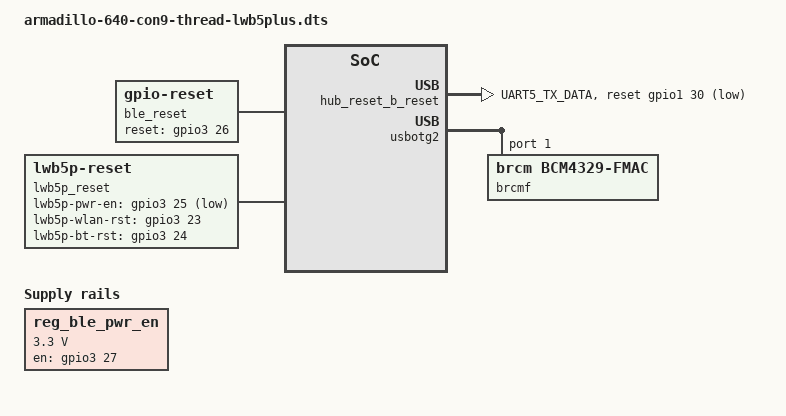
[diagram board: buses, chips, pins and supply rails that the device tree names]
// SPDX-License-Identifier: (GPL-2.0 OR MIT)
/*
 * Copyright (C) 2022 Atmark Techno, Inc. All Rights Reserved.
 */

/dts-v1/;
/plugin/;

#include <dt-bindings/gpio/gpio.h>
#include "imx6ull-pinfunc.h"
#include "imx6ull-pinfunc-snvs.h"
#include <dt-bindings/interrupt-controller/irq.h>

&uart5 {
	status = "disabled";
};

&{/} {
	// chosen {
	//	stdout-path = &uart3;
	// };

	hub_reset_b_reset: usb2422-reset {
		pinctrl-names = "default";
		pinctrl-0 = <&pinctrl_hub_reset_b>;
		compatible = "gpio-reset";
		reset-gpios = <&gpio1 30 GPIO_ACTIVE_LOW>;

		reset-delay-us = <10>;

		reset-on-init;
		#reset-cells = <0>;
	};

	ble_reset: nrf52-reset {
		compatible = "gpio-reset";
		pinctrl-0 = <&pinctrl_ble_reset>;
		reset-gpios = <&gpio3 26 GPIO_ACTIVE_HIGH>;

		reset-delay-us = <1>;

		reset-on-init;
		#reset-cells = <0>;
	};

	lwb5p_reset: lwb5p-wlan-reset {
		pinctrl-names = "default";
		pinctrl-0 = <&pinctrl_lwb5_reset>;
		compatible = "lwb5p-reset";
		lwb5p-pwr-en-gpios = <&gpio3 25 GPIO_ACTIVE_LOW>;
		lwb5p-wlan-rst-gpios = <&gpio3 23 GPIO_ACTIVE_HIGH>;
		lwb5p-bt-rst-gpios = <&gpio3 24 GPIO_ACTIVE_HIGH>;
	};

	reg_ble_pwr_en: regulator-nrf52 {
		pinctrl-names = "default";
		pinctrl-0 = <&pinctrl_ble_pwr_en>;
		compatible = "regulator-fixed";
		regulator-name = "VDD_NRF52";
		regulator-min-microvolt = <3300000>;
		regulator-max-microvolt = <3300000>;
		gpio = <&gpio3 27 GPIO_ACTIVE_HIGH>;
		enable-active-high;
		regulator-boot-on;
	};
};

&iomuxc {
	pinctrl_thread_hog: thread_hoggrp {
		fsl,pins = <
			MX6UL_PAD_UART2_RTS_B__GPIO1_IO23	0x40000008	/* SWDCLK */
			MX6UL_PAD_UART5_RX_DATA__GPIO1_IO31	0x40010008	/* SWDIO */
		>;
	};

	pinctrl_lwb5_reset: lwb5resetgrp {
		fsl,pins = <
			MX6UL_PAD_LCD_DATA20__GPIO3_IO25	0x40000008	/* WLAN_BT_PWREN */
			MX6UL_PAD_LCD_DATA18__GPIO3_IO23	0x40000008	/* WLAN_RST */
			MX6UL_PAD_LCD_DATA19__GPIO3_IO24	0x40000008	/* BT_RST */
		>;
	};

	pinctrl_hub_reset_b: hubresetbgrp {
		fsl,pins = <
			MX6UL_PAD_UART5_TX_DATA__GPIO1_IO30	0x00000008	/* HUB_RESET_B */
		>;
	};

	pinctrl_ble_reset: bleresetgrp {
		fsl,pins = <
			MX6UL_PAD_LCD_DATA21__GPIO3_IO26	0x00000008	/* BLE_RESET */
		>;
	};

	pinctrl_ble_pwr_en: blepwrengrp {
		fsl,pins = <
			MX6UL_PAD_LCD_DATA22__GPIO3_IO27	0x00000008	/* BLE_PWR_EN */
		>;
	};
};

&usbotg2 {
	usb1 {
		reg = <1>;
		usb11 {
			reg = <1>;
			brcmf: wifi@1 {
				reg = <1>;
				compatible = "brcm,bcm4329-fmac";
				brcm,ccode-map = "JP-JP-0";
			};
		};
	};
};
